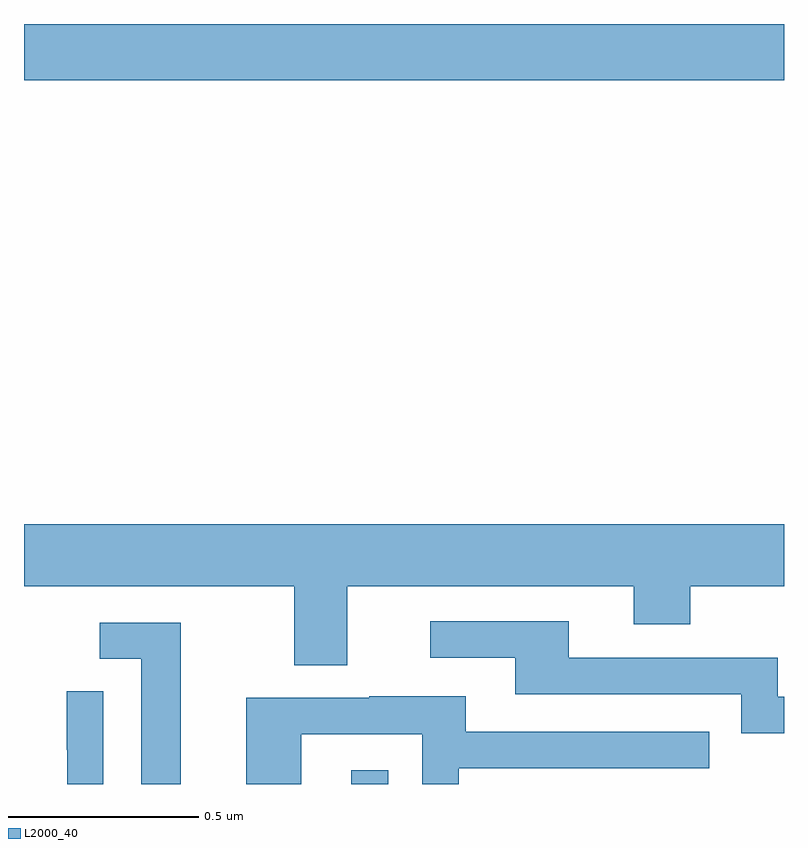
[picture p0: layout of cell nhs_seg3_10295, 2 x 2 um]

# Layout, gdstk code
import gdstk
lib = gdstk.Library(unit=1e-6, precision=1e-09)
def R(c, l, rs):  # rectangles x0, y0, x1, y1
    for r in rs: c.add(gdstk.rectangle(r[:2], r[2:], *l))
def P(c, l, *ps):  # polygons
    for p in ps: c.add(gdstk.Polygon(p, *l))
L2000_40 = (2000, 40)

nhs_seg3_10295 = lib.new_cell('nhs_seg3_10295')
R(nhs_seg3_10295, L2000_40, [(239.861,696.4,239.958,696.436), (239,698.252,241,698.4)])
P(nhs_seg3_10295, L2000_40, [(239.851,696.92),(240.605,696.92),(240.605,696.821),(240.753,696.821),(240.753,696.92),(241,696.92),(241,697.084),(239,697.084),(239,696.92),(239.711,696.92),(239.711,696.712),(239.851,696.712)],
  [(241,696.63),(240.984,696.63),(240.984,696.732),(240.433,696.732),(240.433,696.828),(240.069,696.828),(240.069,696.732),(240.293,696.732),(240.293,696.636),(240.888,696.636),(240.888,696.533),(241,696.533)],
  [(239.413,696.825),(239.199,696.825),(239.199,696.729),(239.309,696.729),(239.309,696.4),(239.413,696.4)],
  [(239.208,696.644),(239.112,696.644),(239.112,696.49),(239.114,696.49),(239.114,696.4),(239.208,696.4)],
  [(239.73,696.531),(240.048,696.531),(240.048,696.4),(240.144,696.4),(240.144,696.441),(240.803,696.441),(240.803,696.537),(240.163,696.537),(240.163,696.631),(239.909,696.631),(239.909,696.627),(239.585,696.627),(239.585,696.4),(239.73,696.4)])

lib.write_gds('nhs_seg3_10295.gds')
